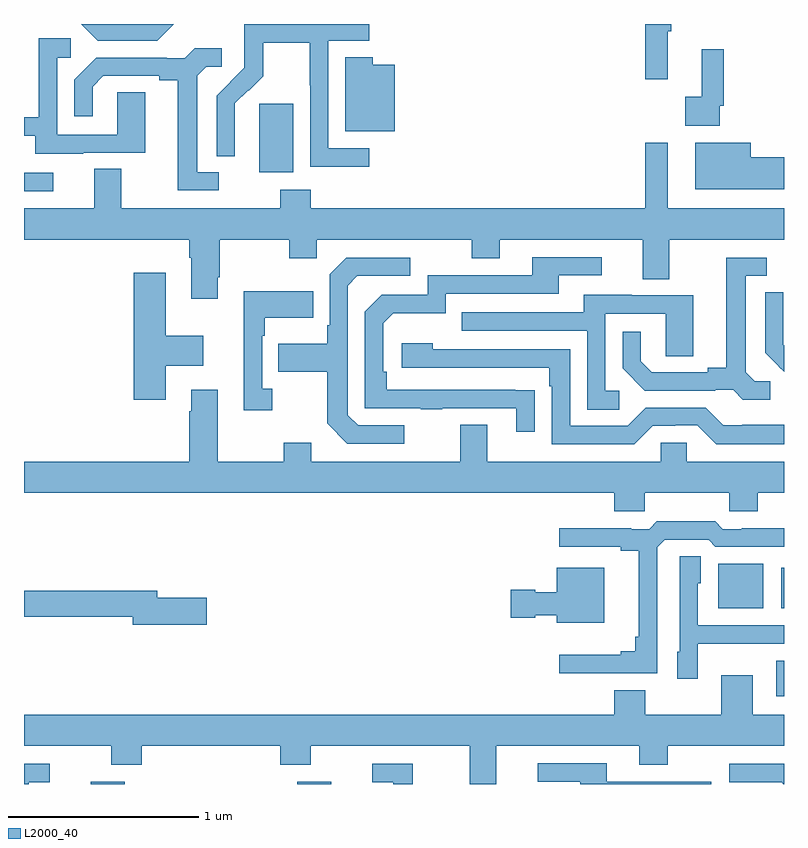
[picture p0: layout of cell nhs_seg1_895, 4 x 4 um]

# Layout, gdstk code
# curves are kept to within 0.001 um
import gdstk
lib = gdstk.Library(unit=1e-6, precision=1e-09)
def R(c, l, rs):  # rectangles x0, y0, x1, y1
    for r in rs: c.add(gdstk.rectangle(r[:2], r[2:], *l))
def P(c, l, *ps):  # polygons
    for p in ps: c.add(gdstk.Polygon(p, *l))
L2000_40 = (2000, 40)

nhs_seg1_895 = lib.new_cell('nhs_seg1_895')
R(nhs_seg1_895, L2000_40, [(159.35,550.199,159.529,550.21), (160.439,550.199,160.618,550.21), (162.959,550.662,163,550.848), (162.653,551.123,162.892,551.359), (162.986,551.123,163,551.338), (159,553.32,159.154,553.416), (160.238,553.418,160.417,553.779)])
P(nhs_seg1_895, L2000_40, [(162.389,554.16),(162.407,554.16),(162.407,554.199),(162.271,554.199),(162.271,553.908),(162.389,553.908)],
  [(159.789,554.199),(159.3,554.199),(159.387,554.112),(159.702,554.112)],
  [(160.816,553.545),(160.602,553.545),(160.602,554.112),(160.816,554.112),(160.816,554.199),(160.158,554.199),(160.158,554.067),(160.16,554.067),(160.16,553.97),(160.014,553.822),(160.014,553.504),(160.11,553.504),(160.109,553.781),(160.179,553.851),(160.182,553.848),(160.259,553.925),(160.259,554.1),(160.504,554.1),(160.504,553.876),(160.506,553.876),(160.506,553.447),(160.816,553.447)],
  [(159.313,553.521),(159.637,553.521),(159.637,553.841),(159.492,553.841),(159.492,553.617),(159.174,553.617),(159.174,554.022),(159.247,554.022),(159.247,554.123),(159.078,554.123),(159.078,553.707),(159,553.707),(159,553.611),(159.059,553.611),(159.059,553.517),(159.313,553.517)],
  [(160.024,553.419),(159.913,553.419),(159.913,553.927),(159.96,553.974),(160.042,553.974),(160.042,554.071),(159.898,554.071),(159.846,554.019),(159.752,554.019),(159.752,554.022),(159.38,554.022),(159.264,553.906),(159.264,553.713),(159.361,553.713),(159.361,553.869),(159.418,553.926),(159.713,553.926),(159.713,553.904),(159.809,553.904),(159.809,553.323),(160.024,553.323)],
  [(162.663,553.768),(162.683,553.768),(162.683,554.065),(162.566,554.065),(162.566,553.817),(162.48,553.817),(162.48,553.664),(162.663,553.664)],
  [(160.951,553.984),(160.835,553.984),(160.835,554.023),(160.691,554.023),(160.691,553.634),(160.951,553.634)],
  [(163,553.499),(162.826,553.499),(162.826,553.573),(162.533,553.573),(162.533,553.328),(163,553.328)],
  [(160.021,552.865),(160.029,552.865),(160.029,553.064),(160.396,553.064),(160.396,552.965),(160.542,552.965),(160.542,553.064),(161.356,553.064),(161.356,552.965),(161.503,552.965),(161.503,553.064),(162.257,553.064),(162.257,552.856),(162.397,552.856),(162.397,553.064),(163,553.064),(163,553.228),(162.388,553.228),(162.388,553.573),(162.271,553.573),(162.271,553.228),(160.508,553.228),(160.508,553.327),(160.348,553.327),(160.348,553.228),(159.511,553.228),(159.511,553.436),(159.371,553.436),(159.371,553.228),(159,553.228),(159,553.064),(159.869,553.064),(159.869,552.968),(159.881,552.968),(159.881,552.753),(160.021,552.753)],
  [(161.687,552.272),(160.91,552.273),(160.91,552.37),(160.89,552.37),(160.89,552.624),(160.943,552.677),(161.22,552.677),(161.22,552.78),(161.815,552.78),(161.815,552.876),(162.04,552.876),(162.04,552.972),(161.675,552.972),(161.675,552.876),(161.124,552.876),(161.124,552.774),(160.884,552.774),(160.794,552.684),(160.794,552.177),(161.089,552.177),(161.089,552.172),(161.201,552.172),(161.201,552.177),(161.591,552.177),(161.591,552.054),(161.687,552.054)],
  [(161.002,552.087),(160.758,552.087),(160.704,552.141),(160.704,552.822),(160.755,552.873),(161.032,552.873),(161.032,552.969),(160.695,552.969),(160.608,552.882),(160.608,552.613),(160.596,552.613),(160.596,552.517),(160.339,552.517),(160.339,552.37),(160.596,552.37),(160.596,552.097),(160.701,551.991),(161.002,551.991)],
  [(162.928,552.318),(162.846,552.318),(162.799,552.365),(162.799,552.873),(162.91,552.873),(162.91,552.969),(162.695,552.969),(162.695,552.389),(162.599,552.389),(162.599,552.366),(162.304,552.366),(162.247,552.423),(162.247,552.58),(162.15,552.58),(162.15,552.386),(162.266,552.27),(162.638,552.27),(162.638,552.273),(162.732,552.273),(162.784,552.221),(162.928,552.221)],
  [(159.745,552.401),(159.943,552.401),(159.943,552.559),(159.745,552.559),(159.745,552.889),(159.578,552.889),(159.578,552.222),(159.745,552.222)],
  [(160.306,552.278),(160.254,552.278),(160.254,552.557),(160.267,552.557),(160.267,552.653),(160.523,552.653),(160.523,552.793),(160.157,552.793),(160.157,552.165),(160.306,552.165)],
  [(163,552.507),(162.995,552.512),(162.995,552.634),(162.996,552.634),(162.996,552.788),(162.9,552.788),(162.9,552.47),(162.973,552.397),(162.972,552.396),(163,552.368)],
  [(162.133,552.27),(162.06,552.27),(162.06,552.675),(162.378,552.675),(162.378,552.451),(162.523,552.451),(162.523,552.771),(162.199,552.771),(162.199,552.775),(161.945,552.775),(161.945,552.681),(161.305,552.681),(161.305,552.585),(161.964,552.585),(161.964,552.169),(162.133,552.169)],
  [(163,552.091),(162.781,552.091),(162.781,552.087),(162.681,552.087),(162.588,552.18),(162.273,552.18),(162.177,552.084),(161.874,552.084),(161.874,552.486),(161.15,552.486),(161.15,552.52),(160.989,552.52),(160.989,552.39),(161.765,552.39),(161.765,552.293),(161.778,552.293),(161.778,551.988),(162.213,551.988),(162.309,552.084),(162.428,552.084),(162.428,552.087),(162.543,552.087),(162.643,551.987),(163,551.987)],
  [(162.267,551.732),(162.712,551.732),(162.712,551.634),(162.862,551.634),(162.862,551.732),(163,551.732),(163,551.896),(162.489,551.896),(162.489,551.994),(162.351,551.994),(162.351,551.896),(161.437,551.896),(161.437,552.091),(161.297,552.091),(161.297,551.896),(160.513,551.896),(160.513,551.995),(160.366,551.995),(160.366,551.896),(160.021,551.896),(160.021,552.274),(159.881,552.274),(159.881,552.161),(159.869,552.161),(159.869,551.896),(159,551.896),(159,551.732),(162.107,551.732),(162.107,551.634),(162.267,551.634)],
  [(162.333,551.445),(162.372,551.484),(162.603,551.484),(162.639,551.448),(163,551.448),(163,551.546),(162.778,551.546),(162.778,551.541),(162.678,551.541),(162.639,551.581),(162.331,551.581),(162.291,551.541),(162.197,551.541),(162.197,551.546),(161.817,551.546),(161.817,551.448),(162.14,551.448),(162.14,551.426),(162.236,551.426),(162.236,550.975),(162.217,550.975),(162.217,550.898),(162.14,550.898),(162.14,550.879),(161.817,550.879),(161.817,550.782),(162.333,550.782)],
  [(162.546,550.937),(162.863,550.937),(162.863,550.938),(163,550.938),(163,551.034),(162.546,551.034),(162.546,551.256),(162.562,551.256),(162.562,551.399),(162.45,551.399),(162.45,550.896),(162.437,550.896),(162.437,550.752),(162.546,550.752)],
  [(162.055,551.338),(161.804,551.338),(161.804,551.209),(161.691,551.209),(161.691,551.222),(161.562,551.222),(161.562,551.075),(161.691,551.075),(161.691,551.087),(161.804,551.087),(161.804,551.048),(162.055,551.048)],
  [(159.961,551.18),(159.7,551.18),(159.7,551.216),(159,551.216),(159,551.08),(159.572,551.08),(159.572,551.038),(159.961,551.038)],
  [(161.485,550.4),(162.239,550.4),(162.239,550.301),(162.387,550.301),(162.387,550.4),(163,550.4),(163,550.564),(162.835,550.564),(162.835,550.771),(162.671,550.771),(162.671,550.564),(162.271,550.564),(162.271,550.693),(162.107,550.693),(162.107,550.564),(159,550.564),(159,550.4),(159.46,550.4),(159.46,550.301),(159.62,550.301),(159.62,550.4),(160.349,550.4),(160.349,550.301),(160.509,550.301),(160.509,550.4),(161.345,550.4),(161.345,550.199),(161.485,550.199)],
  [(162.618,550.212),(162.067,550.212),(162.067,550.308),(161.703,550.308),(161.703,550.212),(161.927,550.212),(161.927,550.199),(162.618,550.199)],
  [(159.025,550.209),(159.136,550.209),(159.136,550.305),(159,550.305),(159,550.199),(159.025,550.199)],
  [(163,550.305),(162.711,550.305),(162.711,550.209),(162.987,550.209),(162.997,550.199),(163,550.199)],
  [(161.047,550.305),(160.833,550.305),(160.833,550.209),(160.943,550.209),(160.943,550.199),(161.047,550.199)])

lib.write_gds('nhs_seg1_895.gds')
